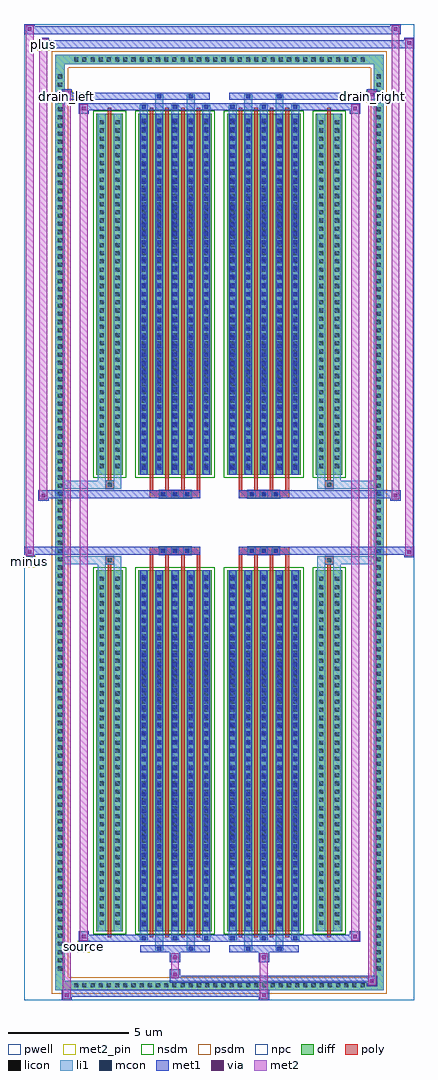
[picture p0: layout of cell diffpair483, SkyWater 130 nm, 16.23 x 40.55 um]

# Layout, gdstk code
import gdstk
lib = gdstk.Library(unit=1e-6, precision=5e-09)
def R(c, l, rs):  # rectangles x0, y0, x1, y1
    for r in rs: c.add(gdstk.rectangle(r[:2], r[2:], *l))
def A(c, l, x, y, w, h, nx, ny, dx, dy):  # array of equal rectangles
    R(c, l, [(x+i*dx, y+j*dy, x+i*dx+w, y+j*dy+h) for i in range(nx) for j in range(ny)])
def P(c, l, *ps):  # polygons
    for p in ps: c.add(gdstk.Polygon(p, *l))
pwell = (64, 44)
diff = (65, 20)
poly = (66, 20)
licon = (66, 44)
li1 = (67, 20)
mcon = (67, 44)
met1 = (68, 20)
via = (68, 44)
met2_pin = (69, 16)
met2 = (69, 20)
nsdm = (93, 44)
psdm = (94, 20)
npc = (95, 20)

diffpair483 = lib.new_cell('diffpair483')
R(diffpair483, pwell, [(-8.1,-19.84,8.1,20.71), (-5.42,-18.03,-0.01,-0.805), (0.01,-18.03,5.42,-0.805), (-5.42,0.805,-0.01,18.03), (0.01,0.805,5.42,18.03)])
A(diffpair483, diff, -6.155, -19.44, 0.41, 0.41, 36, 2, 0.34, 38.47)
A(diffpair483, diff, -6.83, -18.735, 0.41, 0.41, 1, 110, 0, 0.34)
A(diffpair483, diff, 6.42, -18.735, 0.41, 0.41, 1, 110, 0, 0.34)
R(diffpair483, diff, [(-6.155,-19.44,6.155,-19.03), (-6.83,-18.735,-6.42,18.735), (6.42,-18.735,6.83,18.735), (-5.11,-16.985,-4.01,-1.985), (-3.37,-16.985,-0.32,-1.985), (0.32,-16.985,3.37,-1.985), (4.01,-16.985,5.11,-1.985), (-5.11,1.985,-4.01,16.985), (-3.37,1.985,-0.32,16.985), (0.32,1.985,3.37,16.985), (4.01,1.985,5.11,16.985), (-6.155,19.03,6.155,19.44)])
P(diffpair483, diff, [(6.83,19.44),(-6.83,19.44),(-6.83,-19.03),(-6.42,-19.03),(-6.42,19.03),(6.42,19.03),(6.42,-19.03),(-6.42,-19.03),(-6.83,-19.03),(-6.83,-19.44),(6.83,-19.44)])
A(diffpair483, poly, -2.895, -17.235, 0.15, 15.5, 4, 2, 0.65, 18.97)
A(diffpair483, poly, 0.795, -17.235, 0.15, 15.5, 4, 2, 0.65, 18.97)
A(diffpair483, poly, -2.895, -1.735, 0.15, 0.4, 4, 2, 0.65, 3.07)
A(diffpair483, poly, 0.795, -1.735, 0.15, 0.4, 4, 2, 0.65, 3.07)
A(diffpair483, poly, -2.51, -1.335, 0.33, 0.33, 3, 2, 0.5, 2.34)
A(diffpair483, poly, 1.18, -1.335, 0.33, 0.33, 3, 2, 0.5, 2.34)
R(diffpair483, poly, [(-4.635,-17.235,-4.485,-1.735), (4.485,-17.235,4.635,-1.735), (-4.725,-1.735,-4.395,-1.405), (-4.725,-1.735,-4.395,-1.405), (4.395,-1.735,4.725,-1.405), (4.395,-1.735,4.725,-1.405), (-2.895,-1.335,-0.795,-1.005), (0.795,-1.335,2.895,-1.005), (-2.895,1.005,-0.795,1.335), (0.795,1.005,2.895,1.335), (-4.725,1.405,-4.395,1.735), (-4.725,1.405,-4.395,1.735), (4.395,1.405,4.725,1.735), (4.395,1.405,4.725,1.735), (-4.635,1.735,-4.485,17.235), (4.485,1.735,4.635,17.235)])
A(diffpair483, licon, -6.035, -19.32, 0.17, 0.17, 36, 2, 0.34, 38.47)
A(diffpair483, licon, -6.71, -18.615, 0.17, 0.17, 1, 110, 0, 0.34)
A(diffpair483, licon, 6.54, -18.615, 0.17, 0.17, 1, 110, 0, 0.34)
A(diffpair483, licon, -4.97, -16.71, 0.17, 0.17, 1, 43, 0, 0.34)
A(diffpair483, licon, -4.32, -16.71, 0.17, 0.17, 1, 43, 0, 0.34)
A(diffpair483, licon, -3.23, -16.71, 0.17, 0.17, 5, 43, 0.65, 0.34)
A(diffpair483, licon, 0.46, -16.71, 0.17, 0.17, 5, 43, 0.65, 0.34)
A(diffpair483, licon, 4.15, -16.71, 0.17, 0.17, 1, 43, 0, 0.34)
A(diffpair483, licon, 4.8, -16.71, 0.17, 0.17, 1, 43, 0, 0.34)
A(diffpair483, licon, -2.43, -1.255, 0.17, 0.17, 3, 2, 0.5, 2.34)
A(diffpair483, licon, 1.26, -1.255, 0.17, 0.17, 3, 2, 0.5, 2.34)
A(diffpair483, licon, -4.97, 2.26, 0.17, 0.17, 1, 43, 0, 0.34)
A(diffpair483, licon, -4.32, 2.26, 0.17, 0.17, 1, 43, 0, 0.34)
A(diffpair483, licon, -3.23, 2.26, 0.17, 0.17, 5, 43, 0.65, 0.34)
A(diffpair483, licon, 0.46, 2.26, 0.17, 0.17, 5, 43, 0.65, 0.34)
A(diffpair483, licon, 4.15, 2.26, 0.17, 0.17, 1, 43, 0, 0.34)
A(diffpair483, licon, 4.8, 2.26, 0.17, 0.17, 1, 43, 0, 0.34)
R(diffpair483, licon, [(-4.645,-1.655,-4.475,-1.485), (4.475,-1.655,4.645,-1.485), (-4.645,1.485,-4.475,1.655), (4.475,1.485,4.645,1.655)])
A(diffpair483, li1, -6.115, -19.4, 0.33, 0.33, 36, 2, 0.34, 38.47)
A(diffpair483, li1, -6.79, -18.695, 0.33, 0.33, 1, 110, 0, 0.34)
A(diffpair483, li1, 6.46, -18.695, 0.33, 0.33, 1, 110, 0, 0.34)
A(diffpair483, li1, -3.31, -17.36, 0.33, 0.375, 3, 2, 1.3, 34.345)
A(diffpair483, li1, -3.23, -17.36, 0.17, 0.17, 3, 2, 1.3, 34.55)
A(diffpair483, li1, 0.38, -17.36, 0.33, 0.375, 3, 2, 1.3, 34.345)
A(diffpair483, li1, 0.46, -17.36, 0.17, 0.17, 3, 2, 1.3, 34.55)
A(diffpair483, li1, -3.31, -16.985, 0.33, 15, 5, 2, 0.65, 18.97)
A(diffpair483, li1, 0.38, -16.985, 0.33, 15, 5, 2, 0.65, 18.97)
A(diffpair483, li1, -5.05, -16.79, 0.33, 0.33, 1, 43, 0, 0.34)
A(diffpair483, li1, -4.4, -16.79, 0.33, 0.33, 1, 43, 0, 0.34)
A(diffpair483, li1, -3.31, -16.79, 0.33, 0.33, 5, 43, 0.65, 0.34)
A(diffpair483, li1, 0.38, -16.79, 0.33, 0.33, 5, 43, 0.65, 0.34)
A(diffpair483, li1, 4.07, -16.79, 0.33, 0.33, 1, 43, 0, 0.34)
A(diffpair483, li1, 4.72, -16.79, 0.33, 0.33, 1, 43, 0, 0.34)
A(diffpair483, li1, -3.23, -16.77, 0.17, 0.17, 5, 41, 0.65, 0.36)
A(diffpair483, li1, -3.23, -16.77, 0.17, 14.57, 5, 2, 0.65, 18.97)
A(diffpair483, li1, 0.46, -16.77, 0.17, 0.17, 5, 41, 0.65, 0.36)
A(diffpair483, li1, 0.46, -16.77, 0.17, 14.57, 5, 2, 0.65, 18.97)
A(diffpair483, li1, -2.51, -1.335, 0.33, 0.33, 3, 2, 0.5, 2.34)
A(diffpair483, li1, 1.18, -1.335, 0.33, 0.33, 3, 2, 0.5, 2.34)
A(diffpair483, li1, -5.05, 2.18, 0.33, 0.33, 1, 43, 0, 0.34)
A(diffpair483, li1, -4.4, 2.18, 0.33, 0.33, 1, 43, 0, 0.34)
A(diffpair483, li1, -3.31, 2.18, 0.33, 0.33, 5, 43, 0.65, 0.34)
A(diffpair483, li1, 0.38, 2.18, 0.33, 0.33, 5, 43, 0.65, 0.34)
A(diffpair483, li1, 4.07, 2.18, 0.33, 0.33, 1, 43, 0, 0.34)
A(diffpair483, li1, 4.72, 2.18, 0.33, 0.33, 1, 43, 0, 0.34)
A(diffpair483, li1, -3.23, 2.2, 0.17, 0.17, 5, 41, 0.65, 0.36)
A(diffpair483, li1, 0.46, 2.2, 0.17, 0.17, 5, 41, 0.65, 0.36)
R(diffpair483, li1, [(-6.83,-19.44,-6.42,-19.03), (-6.83,-19.44,-6.42,-19.03), (-6.42,-19.44,6.42,-19.03), (6.42,-19.44,6.83,-19.03), (6.42,-19.44,6.83,-19.03), (-6.83,-19.03,-6.42,19.03), (6.42,-19.03,6.83,19.03), (-2.66,-17.79,-2.33,-16.985), (-2.58,-17.79,-2.41,-17.62), (-1.36,-17.79,-1.03,-16.985), (-1.28,-17.79,-1.11,-17.62), (1.03,-17.79,1.36,-16.985), (1.11,-17.79,1.28,-17.62), (2.33,-17.79,2.66,-16.985), (2.41,-17.79,2.58,-17.62), (-5.05,-16.985,-4.72,-1.985), (-4.4,-16.985,-4.07,-1.985), (4.07,-16.985,4.4,-1.985), (4.72,-16.985,5.05,-1.985), (-5.05,-1.985,-4.72,-1.405), (-4.4,-1.985,-4.07,-1.405), (4.07,-1.985,4.4,-1.405), (4.72,-1.985,5.05,-1.405), (-6.83,-1.735,-4.725,-1.405), (-5.05,-1.735,-4.725,-1.405), (-4.725,-1.735,-4.395,-1.405), (-4.395,-1.735,-4.07,-1.405), (4.07,-1.735,4.395,-1.405), (4.395,-1.735,4.725,-1.405), (4.395,-1.735,6.83,-1.405), (4.725,-1.735,5.05,-1.405), (-6.83,1.405,-4.725,1.735), (-5.05,1.405,-4.725,1.735), (-5.05,1.405,-4.72,1.985), (-4.725,1.405,-4.395,1.735), (-4.4,1.405,-4.07,1.985), (-4.395,1.405,-4.07,1.735), (4.07,1.405,4.395,1.735), (4.07,1.405,4.4,1.985), (4.395,1.405,4.725,1.735), (4.395,1.405,6.83,1.735), (4.72,1.405,5.05,1.985), (4.725,1.405,5.05,1.735), (-5.05,1.985,-4.72,16.985), (-4.4,1.985,-4.07,16.985), (4.07,1.985,4.4,16.985), (4.72,1.985,5.05,16.985), (-2.66,16.985,-2.33,17.79), (-1.36,16.985,-1.03,17.79), (1.03,16.985,1.36,17.79), (2.33,16.985,2.66,17.79), (-2.58,17.62,-2.41,17.79), (-1.28,17.62,-1.11,17.79), (1.11,17.62,1.28,17.79), (2.41,17.62,2.58,17.79), (-6.83,19.03,-6.42,19.44), (-6.83,19.03,-6.42,19.44), (-6.42,19.03,6.42,19.44), (6.42,19.03,6.83,19.44), (6.42,19.03,6.83,19.44)])
A(diffpair483, mcon, -3.23, -17.36, 0.17, 0.17, 3, 2, 1.3, 34.55)
A(diffpair483, mcon, 0.46, -17.36, 0.17, 0.17, 3, 2, 1.3, 34.55)
A(diffpair483, mcon, -3.23, -16.77, 0.17, 0.17, 5, 41, 0.65, 0.36)
A(diffpair483, mcon, 0.46, -16.77, 0.17, 0.17, 5, 41, 0.65, 0.36)
A(diffpair483, mcon, -2.43, -1.255, 0.17, 0.17, 3, 2, 0.5, 2.34)
A(diffpair483, mcon, 1.26, -1.255, 0.17, 0.17, 3, 2, 0.5, 2.34)
A(diffpair483, mcon, -3.23, 2.2, 0.17, 0.17, 5, 41, 0.65, 0.36)
A(diffpair483, mcon, 0.46, 2.2, 0.17, 0.17, 5, 41, 0.65, 0.36)
R(diffpair483, mcon, [(-2.58,-17.79,-2.41,-17.62), (-1.28,-17.79,-1.11,-17.62), (1.11,-17.79,1.28,-17.62), (2.41,-17.79,2.58,-17.62), (-2.58,17.62,-2.41,17.79), (-1.28,17.62,-1.11,17.79), (1.11,17.62,1.28,17.79), (2.41,17.62,2.58,17.79)])
A(diffpair483, met1, -3.29, -17.42, 0.29, 0.29, 3, 2, 1.3, 34.55)
A(diffpair483, met1, 0.4, -17.42, 0.29, 0.29, 3, 2, 1.3, 34.55)
A(diffpair483, met1, -3.29, -16.985, 0.29, 15, 5, 2, 0.65, 18.97)
A(diffpair483, met1, 0.4, -16.985, 0.29, 15, 5, 2, 0.65, 18.97)
A(diffpair483, met1, -3.29, -16.83, 0.29, 0.29, 5, 41, 0.65, 0.36)
A(diffpair483, met1, 0.4, -16.83, 0.29, 0.29, 5, 41, 0.65, 0.36)
A(diffpair483, met1, -2.49, -1.315, 0.29, 0.29, 3, 2, 0.5, 2.34)
A(diffpair483, met1, 1.2, -1.315, 0.29, 0.29, 3, 2, 0.5, 2.34)
A(diffpair483, met1, -3.29, 2.14, 0.29, 0.29, 5, 41, 0.65, 0.36)
A(diffpair483, met1, 0.4, 2.14, 0.29, 0.29, 5, 41, 0.65, 0.36)
R(diffpair483, met1, [(-6.56,-19.84,-6.13,-19.41), (1.63,-19.84,2.06,-19.41), (-6.56,-19.7,2.06,-19.41), (6.13,-19.27,6.56,-18.84), (-2.06,-19.13,6.56,-18.84), (-2.06,-18.99,-1.63,-18.56), (-2.06,-18.28,-1.63,-17.85), (1.63,-18.28,2.06,-17.85), (-3.29,-17.85,-0.4,-17.56), (-2.64,-17.85,-2.35,-17.56), (-1.34,-17.85,-1.05,-17.56), (0.4,-17.85,3.29,-17.56), (1.05,-17.85,1.34,-17.56), (2.35,-17.85,2.64,-17.56), (-5.85,-17.42,-5.42,-16.99), (-5.85,-17.42,-3.29,-17.13), (-3.29,-17.42,-0.4,-17.13), (-0.4,-17.42,0.4,-17.13), (0.4,-17.42,3.29,-17.13), (3.29,-17.42,5.85,-17.13), (5.42,-17.42,5.85,-16.99), (-8.1,-1.435,-7.67,-1.005), (7.67,-1.435,8.1,-1.005), (-8.1,-1.335,-0.795,-1.005), (-2.895,-1.335,-0.795,-1.005), (0.795,-1.335,2.895,-1.005), (0.795,-1.335,8.1,-1.005), (-7.53,0.905,-7.1,1.335), (7.1,0.905,7.53,1.335), (-7.53,1.005,-2.895,1.335), (-2.895,1.005,-0.795,1.335), (0.795,1.005,2.895,1.335), (2.895,1.005,7.53,1.335), (-5.85,16.99,-5.42,17.42), (5.42,16.99,5.85,17.42), (-5.85,17.13,-3.29,17.42), (-3.29,17.13,-0.4,17.42), (-0.4,17.13,0.4,17.42), (0.4,17.13,3.29,17.42), (3.29,17.13,5.85,17.42), (-6.56,17.56,-6.13,17.99), (-6.56,17.56,-3.29,17.85), (-3.29,17.56,-0.4,17.85), (-2.64,17.56,-2.35,17.85), (-1.34,17.56,-1.05,17.85), (0.4,17.56,3.29,17.85), (1.05,17.56,1.34,17.85), (2.35,17.56,2.64,17.85), (3.29,17.56,6.56,17.85), (6.13,17.56,6.56,17.99), (-7.53,19.71,-7.1,20.14), (-7.53,19.71,-5.42,20.04), (-5.42,19.71,5.42,20.04), (5.42,19.71,8.1,20.04), (7.67,19.71,8.1,20.14), (-8.1,20.28,-7.67,20.71), (-8.1,20.28,-5.42,20.61), (-5.42,20.28,5.42,20.61), (5.42,20.28,7.53,20.61), (7.1,20.28,7.53,20.71)])
R(diffpair483, via, [(-6.42,-19.7,-6.27,-19.55), (1.77,-19.7,1.92,-19.55), (6.27,-19.13,6.42,-18.98), (-1.92,-18.85,-1.77,-18.7), (-1.92,-18.14,-1.77,-17.99), (1.77,-18.14,1.92,-17.99), (-5.71,-17.28,-5.56,-17.13), (5.56,-17.28,5.71,-17.13), (-7.96,-1.295,-7.81,-1.145), (7.81,-1.295,7.96,-1.145), (-7.39,1.045,-7.24,1.195), (7.24,1.045,7.39,1.195), (-5.71,17.13,-5.56,17.28), (5.56,17.13,5.71,17.28), (-6.42,17.7,-6.27,17.85), (6.27,17.7,6.42,17.85), (-7.39,19.85,-7.24,20), (7.81,19.85,7.96,20), (-7.96,20.42,-7.81,20.57), (7.24,20.42,7.39,20.57)])
R(diffpair483, met2_pin, [(-5.885,-17.87,-5.385,-17.37), (-8.135,-1.885,-7.635,-1.385), (-6.595,17.44,-6.095,17.94), (6.095,17.44,6.595,17.94), (-7.565,19.59,-7.065,20.09)])
R(diffpair483, met2, [(-6.51,-19.79,-6.18,-19.46), (-6.51,-19.79,-6.18,17.94), (1.68,-19.79,2.01,-19.46), (1.68,-19.46,2.01,-18.23), (6.18,-19.22,6.51,-18.89), (6.18,-19.22,6.51,17.94), (-2.01,-18.94,-1.68,-18.61), (-2.01,-18.61,-1.68,-18.23), (-2.01,-18.23,-1.68,-17.9), (1.68,-18.23,2.01,-17.9), (-5.8,-17.37,-5.47,-17.04), (-5.8,-17.37,-5.47,17.37), (5.47,-17.37,5.8,-17.04), (5.47,-17.37,5.8,17.37), (-8.05,-1.385,-7.72,-1.055), (-8.05,-1.385,-7.72,20.66), (7.72,-1.385,8.05,-1.055), (7.72,-1.385,8.05,20.09), (-7.48,0.955,-7.15,1.285), (-7.48,0.955,-7.15,20.09), (7.15,0.955,7.48,1.285), (7.15,0.955,7.48,20.66), (-5.8,17.04,-5.47,17.37), (5.47,17.04,5.8,17.37), (-6.51,17.61,-6.18,17.94), (6.18,17.61,6.51,17.94), (-7.48,19.76,-7.15,20.09), (7.72,19.76,8.05,20.09), (-8.05,20.33,-7.72,20.66), (7.15,20.33,7.48,20.66)])
P(diffpair483, met2, [(8.05,-1.385),(8.05,-1.385),(8.05,-1.055),(8.05,-1.055)],
  [(8.05,19.76),(8.05,19.76),(8.05,20.09),(8.05,20.09)],
  [(-7.72,-1.385),(-7.72,-1.385),(-7.72,-1.055),(-7.72,-1.055)],
  [(-7.72,20.33),(-7.72,20.33),(-7.72,20.66),(-7.72,20.66)],
  [(7.48,0.955),(7.48,0.955),(7.48,1.285),(7.48,1.285)],
  [(7.48,20.33),(7.48,20.33),(7.48,20.66),(7.48,20.66)],
  [(-7.15,0.955),(-7.15,0.955),(-7.15,1.285),(-7.15,1.285)],
  [(-7.15,19.76),(-7.15,19.76),(-7.15,20.09),(-7.15,20.09)],
  [(-6.18,-19.79),(-6.18,-19.79),(-6.18,-19.46),(-6.18,-19.46)],
  [(-6.18,17.61),(-6.18,17.61),(-6.18,17.94),(-6.18,17.94)],
  [(6.51,-19.22),(6.51,-19.22),(6.51,-18.89),(6.51,-18.89)],
  [(6.51,17.61),(6.51,17.61),(6.51,17.94),(6.51,17.94)],
  [(-5.47,-17.37),(-5.47,-17.37),(-5.47,-17.04),(-5.47,-17.04)],
  [(-5.47,17.04),(-5.47,17.04),(-5.47,17.37),(-5.47,17.37)],
  [(5.8,-17.37),(5.8,-17.37),(5.8,-17.04),(5.8,-17.04)],
  [(5.8,17.04),(5.8,17.04),(5.8,17.37),(5.8,17.37)])
R(diffpair483, nsdm, [(-5.24,-17.115,-3.88,-1.855), (-3.5,-17.115,-0.19,-1.855), (0.19,-17.115,3.5,-1.855), (3.88,-17.115,5.24,-1.855), (-5.24,1.855,-3.88,17.115), (-3.5,1.855,-0.19,17.115), (0.19,1.855,3.5,17.115), (3.88,1.855,5.24,17.115)])
P(diffpair483, psdm, [(6.96,19.57),(-6.96,19.57),(-6.96,-18.9),(-6.29,-18.9),(-6.29,18.9),(6.29,18.9),(6.29,-18.9),(-6.29,-18.9),(-6.96,-18.9),(-6.96,-19.57),(6.96,-19.57)])
A(diffpair483, npc, -2.53, -1.355, 0.37, 0.37, 3, 2, 0.5, 2.34)
A(diffpair483, npc, 1.16, -1.355, 0.37, 0.37, 3, 2, 0.5, 2.34)
R(diffpair483, npc, [(-4.745,-1.755,-4.375,-1.385), (4.375,-1.755,4.745,-1.385), (-2.53,-1.355,-1.66,-0.985), (-2.53,-1.355,-1.66,-0.985), (-2.03,-1.355,-1.16,-0.985), (-2.03,-1.355,-1.16,-0.985), (1.16,-1.355,2.03,-0.985), (1.16,-1.355,2.03,-0.985), (1.66,-1.355,2.53,-0.985), (1.66,-1.355,2.53,-0.985), (-2.53,0.985,-1.66,1.355), (-2.53,0.985,-1.66,1.355), (-2.03,0.985,-1.16,1.355), (-2.03,0.985,-1.16,1.355), (1.16,0.985,2.03,1.355), (1.16,0.985,2.03,1.355), (1.66,0.985,2.53,1.355), (1.66,0.985,2.53,1.355), (-4.745,1.385,-4.375,1.755), (4.375,1.385,4.745,1.755)])
diffpair483.add(gdstk.Label('minus', (-7.885,-1.635), layer=69, texttype=5))
diffpair483.add(gdstk.Label('drain_right', (6.345,17.69), layer=69, texttype=5))
diffpair483.add(gdstk.Label('drain_left', (-6.345,17.69), layer=69, texttype=5))
diffpair483.add(gdstk.Label('source', (-5.635,-17.62), layer=69, texttype=5))
diffpair483.add(gdstk.Label('plus', (-7.315,19.84), layer=69, texttype=5))

lib.write_gds('diffpair483.gds')
